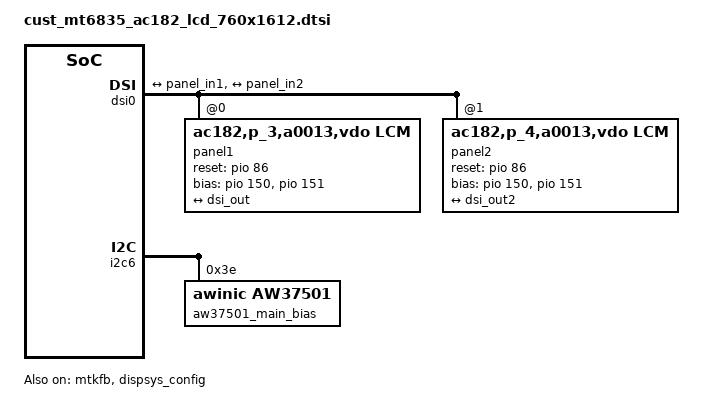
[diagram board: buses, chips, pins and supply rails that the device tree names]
&mtk_leds {
	compatible = "mediatek,disp-leds";

	backlight {
		label = "lcd-backlight";
		max-brightness = <4095>;
		max-hw-brightness = <4095>;
		min-brightness = <1>;
		min-hw-brightness = <1>;
		led_mode = <4>;
		led-bits = <12>;
		trans-bits = <12>;
		default-state = "on";
		apollo-state = "disable";
	};
};

&pio {
    mtkfb_pins_lcm_rst_out1_gpio: lcm_rst_out1_gpio {
        pins_cmd_dat {
            pinmux = <PINMUX_GPIO86__FUNC_GPIO86>;
            slew-rate = <1>;
            output-high;
        };
    };

    mtkfb_pins_lcm_rst_out0_gpio: lcm_rst_out0_gpio {
        pins_cmd_dat {
            pinmux = <PINMUX_GPIO86__FUNC_GPIO86>;
            slew-rate = <1>;
            output-low;
        };
    };

    mtkfb_pins_lcm_dsi_te: lcm_dsi_te {
        pins_cmd_dat {
            pinmux = <PINMUX_GPIO85__FUNC_GPIO85>;
            slew-rate = <0>;
        };
    };

    mtkfb_pins_lcm_bias_enp1_gpio: lcm_bias_enp1_gpio {
        pins_cmd_dat {
            pinmux = <PINMUX_GPIO150__FUNC_GPIO150>;
            slew-rate = <1>;
            output-high;
        };
    };

    mtkfb_pins_lcm_bias_enp0_gpio: lcm_bias_enp0_gpio {
        pins_cmd_dat {
            pinmux = <PINMUX_GPIO150__FUNC_GPIO150>;
            slew-rate = <1>;
            output-low;
        };
    };

    mtkfb_pins_lcm_bias_enn1_gpio: lcm_bias_enn1_gpio {
        pins_cmd_dat {
            pinmux = <PINMUX_GPIO151__FUNC_GPIO151>;
            slew-rate = <1>;
            output-high;
        };
    };

    mtkfb_pins_lcm_bias_enn0_gpio: lcm_bias_enn0_gpio {
        pins_cmd_dat {
            pinmux = <PINMUX_GPIO151__FUNC_GPIO151>;
            slew-rate = <1>;
            output-low;
        };
    };

};

&mtkfb {
    pinctrl-names = "lcm_rst_out1_gpio", "lcm_rst_out0_gpio",
        "mode_te_te",
        "lcm_bias_enp1_gpio", "lcm_bias_enp0_gpio",
        "lcm_bias_enn1_gpio", "lcm_bias_enn0_gpio";
    pinctrl-0 = <&mtkfb_pins_lcm_rst_out1_gpio>;
    pinctrl-1 = <&mtkfb_pins_lcm_rst_out0_gpio>;
    pinctrl-2 = <&mtkfb_pins_lcm_dsi_te>;
    pinctrl-3 = <&mtkfb_pins_lcm_bias_enp1_gpio>;
    pinctrl-4 = <&mtkfb_pins_lcm_bias_enp0_gpio>;
    pinctrl-5 = <&mtkfb_pins_lcm_bias_enn1_gpio>;
    pinctrl-6 = <&mtkfb_pins_lcm_bias_enn0_gpio>;
    status = "okay";
};

&dispsys_config {
    pinctrl-names =
        "lcm_rst_out1_gpio", "lcm_rst_out0_gpio",
        "mode_te_te",
        "lcm_bias_enp1_gpio", "lcm_bias_enp0_gpio",
        "lcm_bias_enn1_gpio", "lcm_bias_enn0_gpio";
    pinctrl-0 = <&mtkfb_pins_lcm_rst_out1_gpio>;
    pinctrl-1 = <&mtkfb_pins_lcm_rst_out0_gpio>;
    pinctrl-2 = <&mtkfb_pins_lcm_dsi_te>;
    pinctrl-3 = <&mtkfb_pins_lcm_bias_enp1_gpio>;
    pinctrl-4 = <&mtkfb_pins_lcm_bias_enp0_gpio>;
    pinctrl-5 = <&mtkfb_pins_lcm_bias_enn1_gpio>;
    pinctrl-6 = <&mtkfb_pins_lcm_bias_enn0_gpio>;
    status = "okay";

    helper-value = <0>, /*MTK_DRM_OPT_STAGE*/
        <1>, /*MTK_DRM_OPT_USE_CMDQ*/
        <1>, /*MTK_DRM_OPT_USE_M4U*/
        <1>, /*MTK_DRM_OPT_MMQOS_SUPPORT*/
        <1>, /*MTK_DRM_OPT_MMDVFS_SUPPORT*/
        <0>, /*MTK_DRM_OPT_SODI_SUPPORT*/
        <1>, /*MTK_DRM_OPT_IDLE_MGR*/
        <0>, /*MTK_DRM_OPT_IDLEMGR_SWTCH_DECOUPLE*/
        <0>, /*MTK_DRM_OPT_IDLEMGR_BY_REPAINT*/
        <0>, /*MTK_DRM_OPT_IDLEMGR_ENTER_ULPS*/
        <0>, /*MTK_DRM_OPT_IDLEMGR_KEEP_LP11*/
        <0>, /*MTK_DRM_OPT_DYNAMIC_RDMA_GOLDEN_SETTING*/
        <1>, /*MTK_DRM_OPT_IDLEMGR_DISABLE_ROUTINE_IRQ*/
        <0>, /*MTK_DRM_OPT_MET_LOG*/
        <1>, /*MTK_DRM_OPT_USE_PQ*/
        <1>, /*MTK_DRM_OPT_ESD_CHECK_RECOVERY*/
        <1>, /*MTK_DRM_OPT_ESD_CHECK_SWITCH*/
        <1>, /*MTK_DRM_OPT_PRESENT_FENCE*/
        <0>, /*MTK_DRM_OPT_RDMA_UNDERFLOW_AEE*/
        <1>, /*MTK_DRM_OPT_DSI_UNDERRUN_AEE*/
        <1>, /*MTK_DRM_OPT_HRT*/
        <1>, /*MTK_DRM_OPT_HRT_MODE*/
        <0>, /*MTK_DRM_OPT_DELAYED_TRIGGER*/
        <1>, /*MTK_DRM_OPT_OVL_EXT_LAYER*/
        <0>, /*MTK_DRM_OPT_AOD*/
        <1>, /*MTK_DRM_OPT_RPO*/
        <0>, /*MTK_DRM_OPT_DUAL_PIPE*/
        <0>, /*MTK_DRM_OPT_DC_BY_HRT*/
        <0>, /*MTK_DRM_OPT_OVL_WCG*/
        <0>, /*MTK_DRM_OPT_OVL_SBCH*/
        <1>, /*MTK_DRM_OPT_COMMIT_NO_WAIT_VBLANK*/
        <0>, /*MTK_DRM_OPT_MET*/
        <0>, /*MTK_DRM_OPT_REG_PARSER_RAW_DUMP*/
        <0>, /*MTK_DRM_OPT_VP_PQ*/
        <0>, /*MTK_DRM_OPT_GAME_PQ*/
        <0>, /*MTK_DRM_OPT_MMPATH*/
        <1>, /*MTK_DRM_OPT_HBM*/
        <1>, /*MTK_DRM_OPT_VDS_PATH_SWITCH*/
        <0>, /*MTK_DRM_OPT_LAYER_REC*/
        <1>, /*MTK_DRM_OPT_CLEAR_LAYER*/
        <1>, /*MTK_DRM_OPT_LFR*/
        <0>, /*MTK_DRM_OPT_SF_PF*/
        <1>, /*MTK_DRM_OPT_DYN_MIPI_CHANGE*/
        <0>, /*MTK_DRM_OPT_PRIM_DUAL_PIPE*/
        <0>, /*MTK_DRM_OPT_MSYNC2_0*/
        <0>, /*MTK_DRM_OPT_MML_PRIMARY*/
        <0>, /*MTK_DRM_OPT_DUAL_TE*/
        <0>, /*MTK_DRM_OPT_VIRTUAL_DISP*/
        <1>, /*MTK_DRM_OPT_SPHRT*/
        <0>; /*MTK_DRM_OPT_RES_SWITCH*/
};
&dsi0 {
    status = "okay";
    #address-cells = <1>;
    #size-cells = <0>;
    panel1@0 {
        compatible = "ac182,p_3,a0013,vdo,lcm";
        reg = <0>;
        reset-gpios = <&pio 86 0>;
        bias-gpios = <&pio 150 0>, <&pio 151 0>;
        pinctrl-names = "default";
        port {
            panel_in1: endpoint {
                remote-endpoint = <&dsi_out>;
            };
        };
    };
    panel2@1 {
        compatible = "ac182,p_4,a0013,vdo,lcm";
        reg = <1>;
        reset-gpios = <&pio 86 0>;
        bias-gpios = <&pio 150 0>, <&pio 151 0>;
        pinctrl-names = "default";
        port {
            panel_in2: endpoint {
                remote-endpoint = <&dsi_out2>;
            };
        };
    };
    ports {
        port {
            dsi_out: endpoint {
                remote-endpoint = <&panel_in1>;
            };
            dsi_out2: endpoint@2 {
                remote-endpoint = <&panel_in2>;
            };
        };
    };
};

&i2c6 {
    aw37501_main_bias: aw37501@0x3e {
        compatible = "awinic,aw37501";
        reg = <0x3e>;
        status = "okay";
    };
};

&disp_ccorr0 {
    oplus_set_ccorr_matrix = <1>;
};

#include  "mediatek/cust_evb6835.dtsi"
